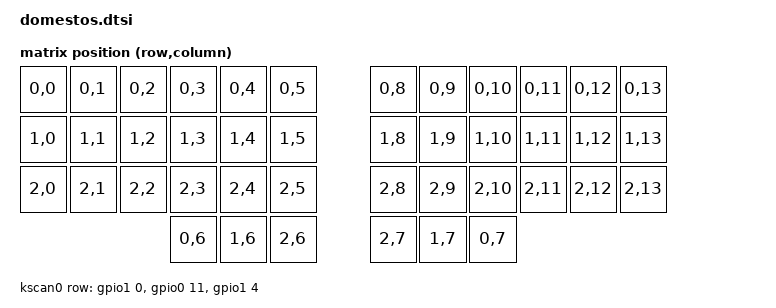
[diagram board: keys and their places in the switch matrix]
#include <dt-bindings/zmk/matrix_transform.h>

/ {
    chosen {
        zmk,kscan = &kscan0;
        zmk,matrix_transform = &default_transform;
    };

    kscan0: kscan {
        compatible = "zmk,kscan-gpio-matrix";
        diode-direction = "col2row";
        wakeup-source;

        row-gpios = <&gpio1 0 (GPIO_ACTIVE_HIGH | GPIO_PULL_DOWN)>,
                    <&gpio0 11 (GPIO_ACTIVE_HIGH | GPIO_PULL_DOWN)>,
                    <&gpio1 4 (GPIO_ACTIVE_HIGH | GPIO_PULL_DOWN)>;

    };

    default_transform: keymap_transform_0 {
        compatible = "zmk,matrix-transform";
        rows = <3>;
        columns = <14>;
        // ------------------------------------------------------------------------------------------------------------------------------------------------------
        // ||  (0,0)  |  Q(0,1)  |  W(0,2)  |  E(0,3)  |  R(0,4)  |  T(0,5)  ||               ||  Y(0,8)  |  U(0,9)  |  I(0,10) |  O(0,11) |  P(0,12) |  (0,13) ||
        // ||  (1,0)  |  A(1,1)  |  S(1,2)  |  D(1,3)  |  F(1,4)  |  G(1,5)  ||               ||  H(1,8)  |  J(1,9)  |  K(1,10) |  L(1,11) |  :(1,12) |  (1,13) ||
        // ||  (2,0)  |  Z(2,1)  |  X(2,2)  |  C(2,3)  |  V(2,4)  |  B(2,5)  ||               ||  N(2,8)  |  M(2,9)  |  ,(2,10) |  .(2,11) |  /(2,12) |  (2,13) ||
        //                                 ||LOWER(0,6)| |SPACE(1,6)| |RAISE(2,6)||       ||RAISE(2,7)| |SPACE(1,7)| |LOWER(0,7)||
        map = <
            RC(0,0) RC(0,1) RC(0,2) RC(0,3) RC(0,4) RC(0,5) RC(0,8) RC(0,9) RC(0,10) RC(0,11) RC(0,12) RC(0,13)
            RC(1,0) RC(1,1) RC(1,2) RC(1,3) RC(1,4) RC(1,5) RC(1,8) RC(1,9) RC(1,10) RC(1,11) RC(1,12) RC(1,13)
            RC(2,0) RC(2,1) RC(2,2) RC(2,3) RC(2,4) RC(2,5) RC(2,8) RC(2,9) RC(2,10) RC(2,11) RC(2,12) RC(2,13)
            RC(0,6) RC(1,6) RC(2,6) RC(2,7) RC(1,7) RC(0,7)
        >;
    };
};


